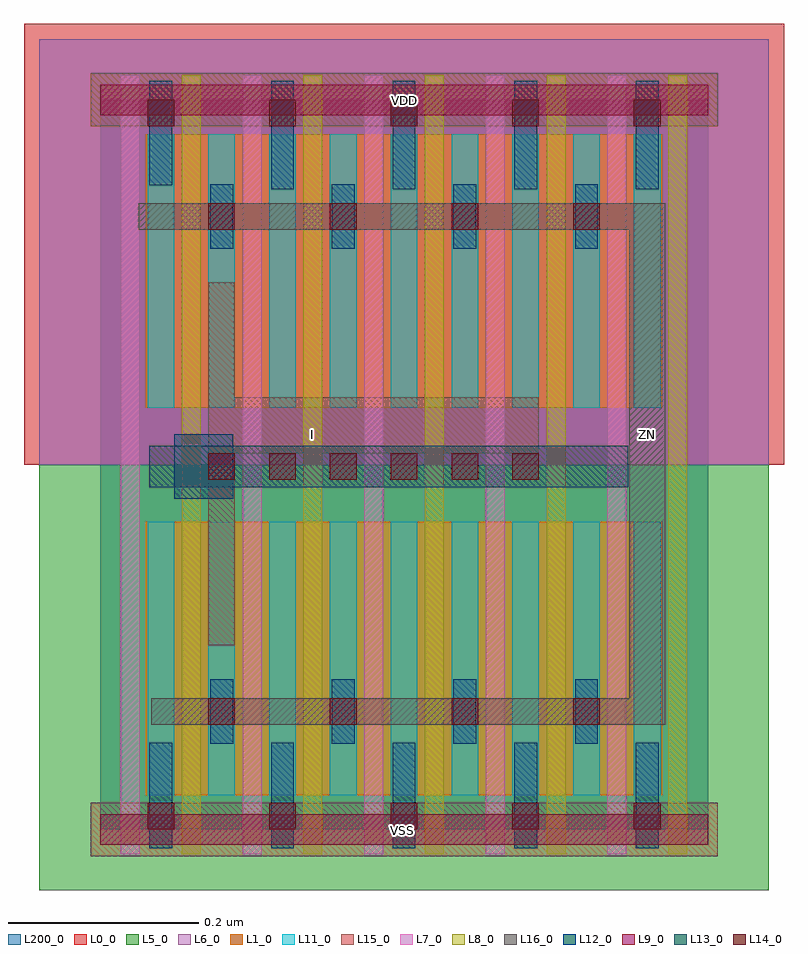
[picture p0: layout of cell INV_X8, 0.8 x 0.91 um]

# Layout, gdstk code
import gdstk
lib = gdstk.Library(unit=1e-6, precision=1e-09)
def R(c, l, rs):  # rectangles x0, y0, x1, y1
    for r in rs: c.add(gdstk.rectangle(r[:2], r[2:], *l))
def A(c, l, x, y, w, h, nx, ny, dx, dy):  # array of equal rectangles
    R(c, l, [(x+i*dx, y+j*dy, x+i*dx+w, y+j*dy+h) for i in range(nx) for j in range(ny)])
def P(c, l, *ps):  # polygons
    for p in ps: c.add(gdstk.Polygon(p, *l))
L0_0 = (0, 0)
L1_0 = (1, 0)
L5_0 = (5, 0)
L6_0 = (6, 0)
L7_0 = (7, 0)
L8_0 = (8, 0)
L9_0 = (9, 0)
L11_0 = (11, 0)
L12_0 = (12, 0)
L13_0 = (13, 0)
L14_0 = (14, 0)
L15_0 = (15, 0)
L16_0 = (16, 0)
L200_0 = (200, 0)

inv_x8 = lib.new_cell('INV_X8')
R(inv_x8, L0_0, [(-0.08,0.384,0.72,0.848)])
R(inv_x8, L1_0, [(0.048,0.036,0.592,0.324), (0.048,0.444,0.592,0.732)])
R(inv_x8, L5_0, [(-0.064,-0.064,0.704,0.384)])
R(inv_x8, L6_0, [(-0.064,0.384,0.704,0.832)])
A(inv_x8, L7_0, 0.022, -0.026, 0.02, 0.82, 5, 1, 0.128, 0)
A(inv_x8, L8_0, 0.086, -0.026, 0.02, 0.82, 5, 1, 0.128, 0)
R(inv_x8, L9_0, [(0,-0.016,0.64,0.016), (0,0.752,0.64,0.784)])
A(inv_x8, L11_0, 0.05, 0.036, 0.028, 0.288, 9, 2, 0.064, 0.408)
A(inv_x8, L12_0, 0.052, -0.02, 0.024, 0.111, 5, 1, 0.128, 0)
A(inv_x8, L12_0, 0.116, 0.09, 0.024, 0.068, 4, 2, 0.128, 0.521)
A(inv_x8, L12_0, 0.18, 0.674, 0.024, 0.114, 4, 1, 0.128, 0)
R(inv_x8, L12_0, [(0.078,0.348,0.14,0.416), (0.052,0.678,0.076,0.788)])
R(inv_x8, L13_0, [(0.052,0.36,0.556,0.404)])
A(inv_x8, L14_0, 0.05, 0, 0.028, 0.028, 5, 2, 0.128, 0.74)
A(inv_x8, L14_0, 0.114, 0.11, 0.028, 0.028, 4, 2, 0.128, 0.521)
A(inv_x8, L14_0, 0.114, 0.368, 0.028, 0.028, 6, 1, 0.064, 0)
R(inv_x8, L15_0, [(-0.01,-0.028,0.65,0.028), (-0.01,0.74,0.65,0.796)])
P(inv_x8, L15_0, [(0.114,0.194),(0.142,0.194),(0.142,0.396),(0.462,0.396),(0.462,0.455),(0.142,0.455),(0.142,0.576),(0.114,0.576)])
P(inv_x8, L16_0, [(0.041,0.631),(0.557,0.631),(0.557,0.138),(0.054,0.138),(0.054,0.11),(0.595,0.11),(0.595,0.659),(0.041,0.659)])
R(inv_x8, L200_0, [(0,0,0.64,0.768)])
inv_x8.add(gdstk.Label('VDD', (0.321,0.767), layer=15, texttype=20))
inv_x8.add(gdstk.Label('VSS', (0.318,-0.001), layer=15, texttype=20))
inv_x8.add(gdstk.Label('I', (0.224,0.416), layer=15, texttype=20))
inv_x8.add(gdstk.Label('ZN', (0.576,0.416), layer=16, texttype=20))

lib.write_gds('INV_X8.gds')
